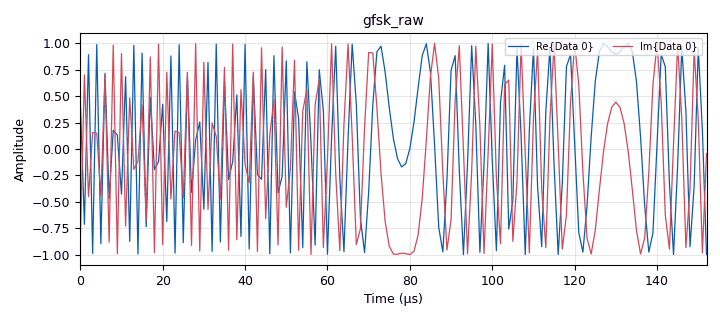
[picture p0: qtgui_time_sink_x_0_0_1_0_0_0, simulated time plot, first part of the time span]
options:
  parameters:
    author: qsq
    generate_options: qt_gui
    id: Info_Wave_Generator
    output_language: python
    title: Information Wave Generator
  states: {}

blocks:
- name: samp_rate
  id: variable
  parameters:
    value: '1000000'
  states: {}
- name: blocks_multiply_const_vxx_0
  id: blocks_multiply_const_vxx
  parameters:
    const: '0.3'
    type: complex
  states: {}
- name: blocks_throttle_0
  id: blocks_throttle
  parameters:
    samples_per_second: '432000'
    type: complex
  states: {state: disabled}
- name: blocks_uchar_to_float_1
  id: blocks_uchar_to_float
  parameters: {}
  states: {state: disabled}
- name: blocks_uchar_to_float_1_0
  id: blocks_uchar_to_float
  parameters: {}
  states: {}
- name: blocks_unpack_k_bits_bb_0
  id: blocks_unpack_k_bits_bb
  parameters:
    k: '8'
  states: {}
- name: digital_gfsk_demod_0_0
  id: digital_gfsk_demod
  parameters:
    freq_error: '0.0'
    gain_mu: '0.05'
    mu: '0.5'
    omega_relative_limit: '0.02'
    samples_per_symbol: '52'
    sensitivity: '2.8323'
  states: {}
- name: digital_gfsk_mod_0_0
  id: digital_gfsk_mod
  parameters:
    bt: '0.35'
    do_unpack: 'False'
    samples_per_symbol: '52'
    sensitivity: '2.8323'
  states: {}
- name: epy_block_0
  id: epy_block
  parameters:
    _source_code: "#!/usr/bin/env python3\nimport numpy as np\nfrom gnuradio import gr\nimport random\nimport string\n\n\n# 干扰波数据生成块 (密钥+随机填充)\nclass gfsk_data_source(gr.sync_block):\n    def __init__(self):\n        gr.sync_block.__init__(self, name=\"GFSK Data Source\", in_sig=None, out_sig=[np.uint8])\n        \n        # 帧结构参数\n        self.ACCESS_CODE = bytes([0x16, 0xE8, 0xD3, 0x77, 0x15, 0x1C, 0x71, 0x2D])\n        self.LENGTH_CHECK = bytes([0x00, 0x0F, 0x00, 0x0F])\n        self.SOF = 0xA5\n        self.CMD_ID = bytes([0x0A, 0x06])\n        self.DATALENGTH = 6\n        self.TARGET_BYTES_PER_SEC = 1350                                                                      # 干扰输出:1350 Bytes/s\n        self.PACKET_FREQ_HZ = 10                                                                              # 数据包体推送速率: 10Hz\n        self.CYCLE_TIME = 1.0 / self.PACKET_FREQ_HZ\n        self.BYTES_PER_CYCLE = self.TARGET_BYTES_PER_SEC // self.PACKET_FREQ_HZ\n        \n        # 计算帧长度\n        self.data_frame_len = 5 + len(self.CMD_ID) + self.DATALENGTH + 2                                      # 数据帧 5 + 6 + 2 + 2 = 15\n        self.air_frame_len = len(self.ACCESS_CODE) + len(self.LENGTH_CHECK) + self.data_frame_len             # 空口帧 8 + 4 + 15 = 27\n        self.pad_len = self.BYTES_PER_CYCLE - self.air_frame_len                                              # 填充长度 135 - 27 = 108\n        self.seq = 0                                                                                          # 包序号 0-255循环\n\n        self._packet_buffer = bytearray()\n        print(f\"Packet length (bytes): {self.air_frame_len + self.pad_len}\")\n\n    def crc8_atm(self, data: bytes) -> int:\n        poly = 0x07\n        crc = 0x00\n        for byte in data:\n            crc ^= byte\n            for _ in range(8):\n                if crc & 0x80:\n                    crc = ((crc << 1) ^ poly) & 0xFF\n                else:\n                    crc = (crc << 1) & 0xFF\n        return crc\n\n    def crc16_ccitt(self, data: bytes) -> int:\n        poly = 0x1021\n        crc = 0xFFFF\n        for byte in data:\n            crc ^= (byte << 8)\n            for _ in range(8):\n                if crc & 0x8000:\n                    crc = ((crc << 1) ^ poly) & 0xFFFF\n                else:\n                    crc = (crc << 1) & 0xFFFF\n        return crc\n\n    def generate_ascii_bytes(self, length: int) -> bytes:\n        chars = string.printable[:95]\n        return ''.join(random.choices(chars, k=length)).encode('ascii')\n\n    def build_structured_frame(self, seq: int) -> bytes:\n        data = b\"rmnb66\"\n        datalength_bytes = bytes([(self.DATALENGTH >> 8) & 0xFF, self.DATALENGTH & 0xFF])\n        header_prefix = bytes([self.SOF]) + datalength_bytes + bytes([seq])\n        crc8 = self.crc8_atm(header_prefix)\n        frame_header = header_prefix + bytes([crc8])\n        crc_input = frame_header + self.CMD_ID + data\n        crc16_val = self.crc16_ccitt(crc_input)\n        crc16_bytes = bytes([(crc16_val >> 8) & 0xFF, crc16_val & 0xFF])\n        return crc_input + crc16_bytes\n\n    def next_packet(self):  #生成完整数据包\n        structured = self.build_structured_frame(self.seq)\n        packet = self.ACCESS_CODE + self.LENGTH_CHECK + structured\n        padding = self.generate_ascii_bytes(self.pad_len) if self.pad_len > 0 else b''\n        self.seq = (self.seq + 1) % 256\n        return packet + padding\n\n    def work(self, input_items, output_items):\n        out = output_items[0]\n        max_output = len(out)\n        bytes_written = 0\n\n        # 缓存为空时，生成新数据包\n        if len(self._packet_buffer) == 0:\n            self._packet_buffer = bytearray(self.next_packet())\n\n        send_len = min(len(self._packet_buffer), max_output)\n        if send_len > 0:\n            # 复制缓存数据到输出\n            out[:send_len] = np.frombuffer(self._packet_buffer[:send_len], dtype=np.uint8)\n            # 移除已发送的数据\n            del self._packet_buffer[:send_len]\n            bytes_written = send_len\n\n        return bytes_written\n\n"
  states: {}
- name: epy_block_1
  id: epy_block
  parameters:
    _source_code: |
      #!/usr/bin/env python3
      import numpy as np
      from gnuradio import gr
      import pmt


      class gfsk_key_decoder(gr.basic_block):
          """
          输入：
              GFSK Demod 输出的 unpacked bit stream，每个 uint8 只使用 LSB，值为 0 或 1。

          空口帧格式固定为 27 字节：

              ACCESS_CODE      8 bytes
              LENGTH_CHECK     4 bytes，固定 00 0F 00 0F
              DATA_SLICE       15 bytes

          每个空口帧只有最后 15 字节是有效数据切片。

          一整套有效数据为 135 字节：

              135 / 15 = 9

          所以接收端需要连续接收 9 个空口帧，提取其中的 15 字节 DATA_SLICE，
          拼接成 135 字节完整数据，然后再解析内部的五个子包。

          135 字节内部包含五个子数据包：

              CMD_ID 0x0A01, DATA 长度 24
              CMD_ID 0x0A02, DATA 长度 12
              CMD_ID 0x0A03, DATA 长度 10
              CMD_ID 0x0A04, DATA 长度 8
              CMD_ID 0x0A05, DATA 长度 36

          每个子数据包格式：

              SOF             1 byte
              DATALENGTH      2 bytes
              SEQ             1 byte
              CRC8            1 byte
              CMD_ID          2 bytes
              DATA            N bytes
              CRC16           2 bytes

          输出：
              将五个子包的 DATA 按顺序输出：

                  DATA_0A01 + DATA_0A02 + DATA_0A03 + DATA_0A04 + DATA_0A05

              总输出长度：

                  24 + 12 + 10 + 8 + 36 = 90 bytes
          """

          def __init__(self, max_access_errors=0, debug=True):
              gr.basic_block.__init__(
                  self,
                  name="GFSK 15-Byte Slice Packet Decoder",
                  in_sig=[np.uint8],
                  out_sig=[np.uint8],
              )

              ##################################################
              # 空口帧参数
              ##################################################

              self.ACCESS_CODE = bytes([
                  0x16, 0xE8, 0xD3, 0x77,
                  0x15, 0x1C, 0x71, 0x2D
              ])

              # ACCESS_CODE 后面的长度校验固定为 00 0F 00 0F
              self.SLICE_LEN = 15

              # 8 字节 ACCESS_CODE + 4 字节 LENGTH_CHECK + 15 字节 DATA_SLICE
              self.AIR_FRAME_LEN = 8 + 4 + self.SLICE_LEN

              # 一整套数据是 135 字节，也就是 9 个 15 字节切片
              self.FULL_PAYLOAD_LEN = 135
              self.SLICE_COUNT = self.FULL_PAYLOAD_LEN // self.SLICE_LEN

              ##################################################
              # 135 字节内部子包参数
              ##################################################

              self.SOF = 0xA5

              # 每个子包固定开销：
              # SOF 1 + DATALENGTH 2 + SEQ 1 + CRC8 1 + CMD_ID 2 + CRC16 2 = 9
              self.PACKET_OVERHEAD = 9

              # 五个子包，顺序固定
              self.PACKET_SPECS = [
                  (0x0A01, 24),
                  (0x0A02, 12),
                  (0x0A03, 10),
                  (0x0A04, 8),
                  (0x0A05, 36),
              ]

              # 五个子包 DATA 总长度
              self.TOTAL_DATA_LEN = sum(data_len for _, data_len in self.PACKET_SPECS)

              calc_payload_len = sum(
                  data_len + self.PACKET_OVERHEAD
                  for _, data_len in self.PACKET_SPECS
              )

              if calc_payload_len != self.FULL_PAYLOAD_LEN:
                  raise ValueError(
                      "135-byte payload length mismatch: calc=%d expected=%d"
                      % (calc_payload_len, self.FULL_PAYLOAD_LEN)
                  )

              self.max_access_errors = int(max_access_errors)
              self.debug = bool(debug)

              self.access_bits = self.bytes_to_bits(self.ACCESS_CODE)

              # bit 级缓存，用来寻找空口帧
              self.bitbuf = bytearray()

              # 15 字节切片拼接缓存
              self.slice_buf = bytearray()

              ##################################################
              # 输出 tag
              ##################################################

              self.packet_len_key = pmt.intern("packet_len")
              self.seq_key = pmt.intern("seq")
              self.cmd_key = pmt.intern("cmd_id")
              self.frame_index_key = pmt.intern("frame_index")

              # 尽量让调度器一次给足 90 字节输出空间
              try:
                  self.set_min_noutput_items(self.TOTAL_DATA_LEN)
              except Exception:
                  pass

          ##################################################
          # bit/byte 转换
          ##################################################

          def bytes_to_bits(self, data: bytes):
              """
              MSB first:
                  0xA5 -> 1 0 1 0 0 1 0 1
              """
              bits = []
              for b in data:
                  for i in range(7, -1, -1):
                      bits.append((b >> i) & 1)
              return bits

          def bits_to_bytes(self, bits):
              """
              MSB first bits 转 bytes。
              """
              n = len(bits) // 8
              out = bytearray(n)

              for i in range(n):
                  v = 0
                  for b in bits[i * 8:(i + 1) * 8]:
                      v = (v << 1) | (b & 1)
                  out[i] = v

              return bytes(out)

          ##################################################
          # CRC
          ##################################################

          def crc8_atm(self, data: bytes) -> int:
              """
              CRC-8/ATM
              poly = 0x07
              init = 0x00
              """
              poly = 0x07
              crc = 0x00

              for byte in data:
                  crc ^= byte
                  for _ in range(8):
                      if crc & 0x80:
                          crc = ((crc << 1) ^ poly) & 0xFF
                      else:
                          crc = (crc << 1) & 0xFF

              return crc

          def crc16_ccitt(self, data: bytes) -> int:
              """
              CRC-16/CCITT-FALSE
              poly = 0x1021
              init = 0xFFFF
              """
              poly = 0x1021
              crc = 0xFFFF

              for byte in data:
                  crc ^= (byte << 8)
                  for _ in range(8):
                      if crc & 0x8000:
                          crc = ((crc << 1) ^ poly) & 0xFFFF
                      else:
                          crc = (crc << 1) & 0xFFFF

              return crc

          ##################################################
          # ACCESS_CODE 搜索
          ##################################################

          def find_access_code(self):
              """
              在 bitbuf 中搜索 ACCESS_CODE。

              返回：
                  找到：起始 bit 位置
                  找不到：-1
              """
              n = len(self.access_bits)
              limit = len(self.bitbuf) - n + 1

              if limit <= 0:
                  return -1

              access = self.access_bits
              max_err = self.max_access_errors

              for i in range(limit):
                  err = 0

                  for j in range(n):
                      if self.bitbuf[i + j] != access[j]:
                          err += 1
                          if err > max_err:
                              break

                  if err <= max_err:
                      return i

              return -1

          ##################################################
          # 解析 135 字节内部子包
          ##################################################

          def parse_one_packet(self, packet: bytes, expected_cmd: int, expected_data_len: int):
              """
              解析一个子数据包。

              子包格式：

                  SOF             1 byte
                  DATALENGTH      2 bytes
                  SEQ             1 byte
                  CRC8            1 byte
                  CMD_ID          2 bytes
                  DATA            N bytes
                  CRC16           2 bytes
              """

              expected_packet_len = expected_data_len + self.PACKET_OVERHEAD

              if len(packet) != expected_packet_len:
                  return None

              ##################################################
              # SOF
              ##################################################

              if packet[0] != self.SOF:
                  return None

              ##################################################
              # DATALENGTH
              ##################################################

              data_len = (packet[1] << 8) | packet[2]

              if data_len != expected_data_len:
                  return None

              ##################################################
              # SEQ
              ##################################################

              seq = packet[3]

              ##################################################
              # CRC8
              #
              # 和原始代码保持一致：
              # CRC8 计算范围为 SOF + DATALENGTH + SEQ，也就是 packet[0:4]
              ##################################################

              rx_crc8 = packet[4]
              calc_crc8 = self.crc8_atm(packet[0:4])

              if rx_crc8 != calc_crc8:
                  return None

              ##################################################
              # CMD_ID
              ##################################################

              cmd = (packet[5] << 8) | packet[6]

              if cmd != expected_cmd:
                  return None

              ##################################################
              # DATA
              ##################################################

              data_start = 7
              data_end = data_start + data_len
              data = packet[data_start:data_end]

              ##################################################
              # CRC16
              #
              # 和原始代码保持一致：
              # CRC16 计算范围为整个子包去掉最后两个 CRC16 字节
              ##################################################

              rx_crc16 = (packet[-2] << 8) | packet[-1]
              calc_crc16 = self.crc16_ccitt(packet[:-2])

              if rx_crc16 != calc_crc16:
                  return None

              return {
                  "cmd": cmd,
                  "seq": seq,
                  "data": data,
              }

          def parse_full_payload(self, payload: bytes):
              """
              解析拼接出来的 135 字节完整有效数据。

              135 字节内部顺序固定为：

                  0x0A01, DATA 24 bytes
                  0x0A02, DATA 12 bytes
                  0x0A03, DATA 10 bytes
                  0x0A04, DATA 8 bytes
                  0x0A05, DATA 36 bytes
              """

              if len(payload) != self.FULL_PAYLOAD_LEN:
                  return None

              packets = []
              offset = 0

              for index, (expected_cmd, expected_data_len) in enumerate(self.PACKET_SPECS):
                  packet_len = expected_data_len + self.PACKET_OVERHEAD

                  if offset + packet_len > len(payload):
                      return None

                  packet = payload[offset:offset + packet_len]

                  parsed = self.parse_one_packet(
                      packet,
                      expected_cmd=expected_cmd,
                      expected_data_len=expected_data_len,
                  )

                  if parsed is None:
                      return None

                  parsed["index"] = index
                  packets.append(parsed)

                  offset += packet_len

              if offset != len(payload):
                  return None

              return packets

          ##################################################
          # 输出五个子包 DATA
          ##################################################

          def output_packets(self, packets, out, produced):
              """
              将五个子包的 DATA 输出到 GNU Radio 流中。
              """

              for pkt in packets:
                  cmd = pkt["cmd"]
                  seq = pkt["seq"]
                  data = pkt["data"]
                  index = pkt["index"]

                  abs_off = self.nitems_written(0) + produced

                  self.add_item_tag(
                      0,
                      abs_off,
                      self.packet_len_key,
                      pmt.from_long(len(data)),
                  )

                  self.add_item_tag(
                      0,
                      abs_off,
                      self.seq_key,
                      pmt.from_long(seq),
                  )

                  self.add_item_tag(
                      0,
                      abs_off,
                      self.cmd_key,
                      pmt.from_long(cmd),
                  )

                  self.add_item_tag(
                      0,
                      abs_off,
                      self.frame_index_key,
                      pmt.from_long(index),
                  )

                  out[produced:produced + len(data)] = np.frombuffer(
                      data,
                      dtype=np.uint8,
                  )

                  produced += len(data)

                  if self.debug:
                      try:
                          ascii_text = data.decode("ascii")
                      except Exception:
                          ascii_text = repr(data)

                      print(
                          "[GFSK RX] index=%d seq=%03d cmd=0x%04X len=%d data_hex=%s data_ascii=%s"
                          % (
                              index,
                              seq,
                              cmd,
                              len(data),
                              data.hex(" "),
                              ascii_text,
                          )
                      )

              return produced

          ##################################################
          # GNU Radio work
          ##################################################

          def general_work(self, input_items, output_items):
              inp = input_items[0]
              out = output_items[0]

              ##################################################
              # GFSK Demod 输出每个 uint8 的 LSB 是 bit
              ##################################################

              if len(inp) > 0:
                  self.bitbuf.extend((inp & 0x01).astype(np.uint8).tolist())

              produced = 0

              access_bits_len = len(self.access_bits)

              # ACCESS_CODE 后面 4 字节 LENGTH_CHECK
              length_check_bits_len = 32

              # ACCESS_CODE + LENGTH_CHECK
              min_header_bits = access_bits_len + length_check_bits_len

              # 一个完整空口帧：
              # ACCESS_CODE 8 字节 + LENGTH_CHECK 4 字节 + DATA_SLICE 15 字节
              air_frame_bits_len = self.AIR_FRAME_LEN * 8

              # DATA_SLICE 在空口帧中的 bit 位置
              slice_start_bits = min_header_bits
              slice_end_bits = slice_start_bits + self.SLICE_LEN * 8

              ##################################################
              # 每成功解析 135 字节，输出 90 字节
              ##################################################

              while produced + self.TOTAL_DATA_LEN <= len(out):

                  ##################################################
                  # 如果已经收集到至少 135 字节切片数据，则尝试解析
                  ##################################################

                  if len(self.slice_buf) >= self.FULL_PAYLOAD_LEN:
                      full_payload = bytes(self.slice_buf[:self.FULL_PAYLOAD_LEN])

                      parsed_packets = self.parse_full_payload(full_payload)

                      if parsed_packets is not None:
                          if self.debug:
                              print(
                                  "[GFSK RX] full 135-byte payload parsed successfully"
                              )

                          produced = self.output_packets(
                              parsed_packets,
                              out,
                              produced,
                          )

                          # 丢弃已经解析的 135 字节
                          del self.slice_buf[:self.FULL_PAYLOAD_LEN]

                          continue

                      else:
                          ##################################################
                          # 如果解析失败，说明当前 135 字节的切片边界可能不对，
                          # 或者中间有误码/丢帧。
                          #
                          # 因为每个切片是 15 字节，所以这里丢弃最早的一个
                          # 15 字节切片，再继续等待后续切片重新尝试。
                          ##################################################

                          if self.debug:
                              print(
                                  "[GFSK RX] 135-byte payload parse failed, drop one 15-byte slice and resync"
                              )

                          del self.slice_buf[:self.SLICE_LEN]
                          continue

                  ##################################################
                  # slice_buf 不足 135 字节时，继续从 bitbuf 中提取空口帧
                  ##################################################

                  pos = self.find_access_code()

                  if pos < 0:
                      ##################################################
                      # 未找到 ACCESS_CODE。
                      # 保留最后 access_bits_len - 1 bit，
                      # 防止 ACCESS_CODE 跨 work 调用边界。
                      ##################################################

                      keep = access_bits_len - 1

                      if len(self.bitbuf) > keep:
                          del self.bitbuf[:-keep]

                      break

                  ##################################################
                  # 丢弃 ACCESS_CODE 前面的杂散 bit
                  ##################################################

                  if pos > 0:
                      del self.bitbuf[:pos]

                  ##################################################
                  # 等待 ACCESS_CODE + LENGTH_CHECK
                  ##################################################

                  if len(self.bitbuf) < min_header_bits:
                      break

                  ##################################################
                  # 检查 LENGTH_CHECK
                  #
                  # 格式固定：
                  #   00 0F 00 0F
                  #
                  # 即 len1 = 15, len2 = 15
                  ##################################################

                  length_bits = self.bitbuf[access_bits_len:min_header_bits]
                  length_bytes = self.bits_to_bytes(length_bits)

                  len1 = (length_bytes[0] << 8) | length_bytes[1]
                  len2 = (length_bytes[2] << 8) | length_bytes[3]

                  if len1 != len2 or len1 != self.SLICE_LEN:
                      ##################################################
                      # 假同步，右移 1 bit 继续搜索 ACCESS_CODE
                      ##################################################

                      if self.debug:
                          print(
                              "[GFSK RX] length check error: len1=%d len2=%d expected=%d"
                              % (len1, len2, self.SLICE_LEN)
                          )

                      del self.bitbuf[0]
                      continue

                  ##################################################
                  # 等待完整 27 字节空口帧
                  ##################################################

                  if len(self.bitbuf) < air_frame_bits_len:
                      break

                  ##################################################
                  # 提取后 15 字节有效切片
                  ##################################################

                  slice_bits = self.bitbuf[slice_start_bits:slice_end_bits]
                  data_slice = self.bits_to_bytes(slice_bits)

                  if len(data_slice) != self.SLICE_LEN:
                      # 理论上不会发生
                      del self.bitbuf[0]
                      continue

                  ##################################################
                  # 将 15 字节切片追加到拼接缓存
                  ##################################################

                  self.slice_buf.extend(data_slice)

                  if self.debug:
                      print(
                          "[GFSK RX] got one 15-byte slice, collected=%d/%d bytes, slice_hex=%s"
                          % (
                              len(self.slice_buf),
                              self.FULL_PAYLOAD_LEN,
                              data_slice.hex(" "),
                          )
                      )

                  ##################################################
                  # 丢弃已经处理的完整空口帧
                  ##################################################

                  del self.bitbuf[:air_frame_bits_len]

              ##################################################
              # 消费本次输入
              ##################################################

              self.consume(0, len(inp))
              return produced
    debug: 'True'
    max_access_errors: '0'
  states: {}
- name: iio_pluto_sink_0
  id: iio_pluto_sink
  parameters:
    attenuation1: '0'
    bandwidth: '940000'
    buffer_size: '32768'
    cyclic: 'False'
    filter_source: '''Auto'''
    frequency: '432200000'
    samplerate: samp_rate
    type: fc32
    uri: ip:192.168.2.1
  states: {}
- name: iio_pluto_source_0
  id: iio_pluto_source
  parameters:
    bandwidth: '940000'
    bbdc: 'True'
    buffer_size: '32768'
    filter_source: '''Auto'''
    frequency: '432200000'
    gain1: '''manual'''
    manual_gain1: '40'
    quadrature: 'True'
    rfdc: 'True'
    samplerate: samp_rate
    type: fc32
    uri: ip:192.168.2.1
  states: {}
- name: qtgui_time_sink_x_0_0_1_0_0
  id: qtgui_time_sink_x
  parameters:
    name: '"raw"'
    size: '1024'
    srate: samp_rate
    type: float
  states: {state: disabled}
- name: qtgui_time_sink_x_0_0_1_0_0_0
  id: qtgui_time_sink_x
  parameters:
    autoscale: 'True'
    name: '"gfsk_raw"'
    size: '1024'
    srate: samp_rate
    type: complex
  states: {}
- name: qtgui_time_sink_x_0_0_1_0_0_1
  id: qtgui_time_sink_x
  parameters:
    name: '"raw2"'
    size: '1024'
    srate: samp_rate
    type: float
  states: {}
- name: qtgui_time_sink_x_0_0_1_0_0_1_0
  id: qtgui_time_sink_x
  parameters:
    name: '"rec_raw"'
    size: '1024'
    srate: samp_rate
    type: complex
  states: {}

connections:
- [blocks_multiply_const_vxx_0, '0', iio_pluto_sink_0, '0']
- [blocks_throttle_0, '0', digital_gfsk_demod_0_0, '0']
- [blocks_uchar_to_float_1, '0', qtgui_time_sink_x_0_0_1_0_0, '0']
- [blocks_uchar_to_float_1_0, '0', qtgui_time_sink_x_0_0_1_0_0_1, '0']
- [blocks_unpack_k_bits_bb_0, '0', digital_gfsk_mod_0_0, '0']
- [digital_gfsk_demod_0_0, '0', epy_block_1, '0']
- [digital_gfsk_mod_0_0, '0', blocks_multiply_const_vxx_0, '0']
- [digital_gfsk_mod_0_0, '0', blocks_throttle_0, '0']
- [digital_gfsk_mod_0_0, '0', qtgui_time_sink_x_0_0_1_0_0_0, '0']
- [epy_block_0, '0', blocks_uchar_to_float_1, '0']
- [epy_block_0, '0', blocks_unpack_k_bits_bb_0, '0']
- [epy_block_1, '0', blocks_uchar_to_float_1_0, '0']
- [iio_pluto_source_0, '0', digital_gfsk_demod_0_0, '0']
- [iio_pluto_source_0, '0', qtgui_time_sink_x_0_0_1_0_0_1_0, '0']

metadata:
  file_format: 1
